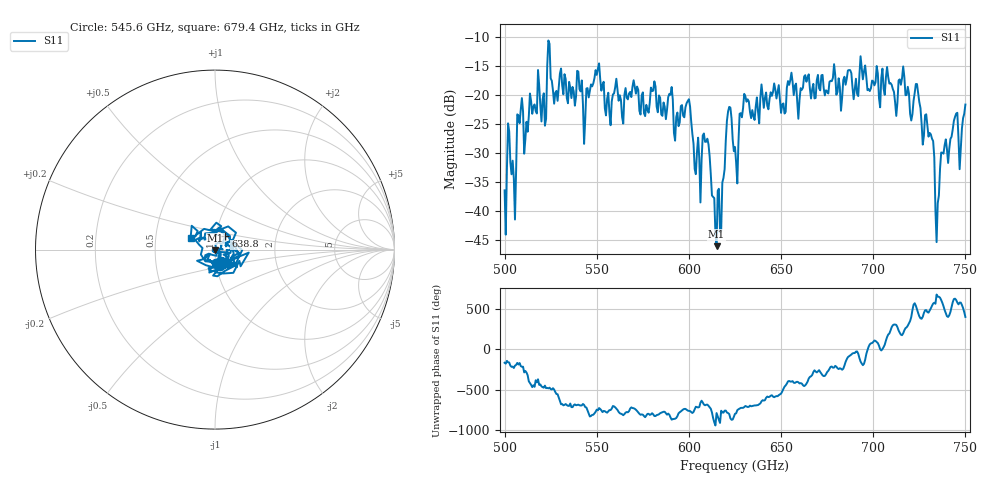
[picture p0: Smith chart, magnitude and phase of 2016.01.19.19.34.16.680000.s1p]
!Created with skrf (http://scikit-rf.org).
# GHz S RI R 50.0
!freq ReS11 ImS11
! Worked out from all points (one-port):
!   401 points, 500 GHz to 750 GHz, reference 50 ohm
!   lowest |S11| = -46.1 dB at 615 GHz (marker M1), VSWR 1.01, Z = 50.2 - j0.456 ohm
!   |S11| at or under -10 dB: start of sweep to end of sweep
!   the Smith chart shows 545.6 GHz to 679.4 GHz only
!   S11 on the Smith chart (normalised r, x): 545.6 GHz: 1.04, -0.19; 638.8 GHz: 1.11, +0.17; 679.4 GHz: 0.75, +0.10
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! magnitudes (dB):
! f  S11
! 500 GHz  -36.5
! 502.5 GHz  -26.3
! 505 GHz  -34.4
! 508.1 GHz  -24.8
! 521.2 GHz  -19.7
! 524.4 GHz  -11.1
! 531.2 GHz  -18.3
! 545.6 GHz  -20.4
! 562.5 GHz  -20.0
! 580.6 GHz  -19.2
! 593.8 GHz  -23.0
! 599.4 GHz  -21.0
! 605 GHz  -27.4
! 609.4 GHz  -28.1
! 615 GHz  -46.1
! 618.1 GHz  -35.1
! 621.9 GHz  -22.0
! 625 GHz  -29.0
! 630.6 GHz  -20.2
! 638.8 GHz  -20.4
! 656.2 GHz  -17.7
! 679.4 GHz  -16.5
! 687.5 GHz  -15.7
! 718.8 GHz  -18.5
! 731.2 GHz  -26.8
! 735 GHz  -38.7
! 738.1 GHz  -30.1
! 750 GHz  -21.6
